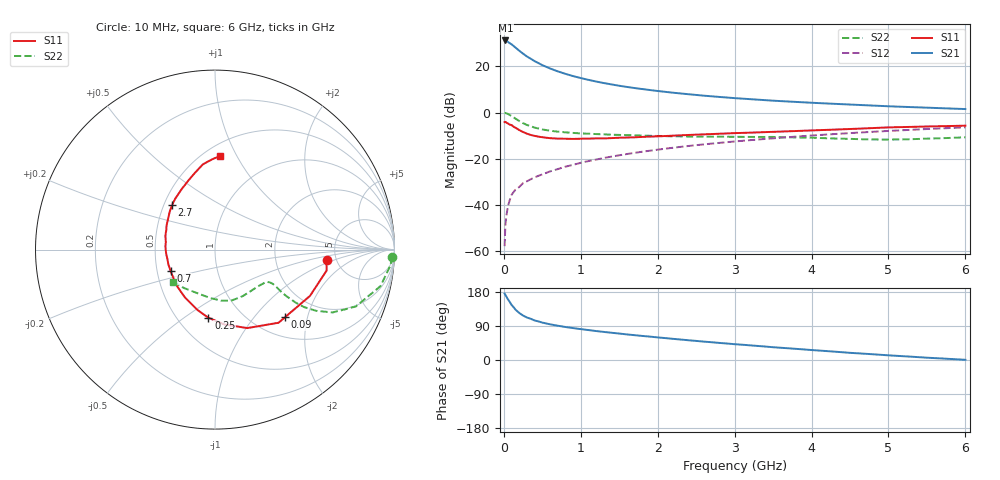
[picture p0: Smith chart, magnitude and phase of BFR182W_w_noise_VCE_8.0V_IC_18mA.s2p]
! Infineon Technologies  Discrete & RF Semiconductors
! BFR182W
! VCE =  8.0 V,  IC =  18 mA
! Common Emitter S-Parameters:  Jan 2017
# GHz  S  MA  R  50
!  f  S11  S21  S12  S22
! GHz  MAG  ANG  MAG  ANG  MAG  ANG  MAG  ANG
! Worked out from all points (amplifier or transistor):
!   77 points, 10 MHz to 6 GHz, reference 50 ohm
!   highest |S21| = 31.2 dB at 20 MHz (marker M1)
!   |S21| within 3 dB of that: start of sweep to 149.1 MHz
!   unconditionally stable (mu >= 1): 863.2 MHz to 2.395 GHz
!   at 130 MHz: K = 0.40, MSG = 31.5 dB, |S12| = -34.2 dB
!   at 2.2 GHz: K = 1.01, MAG = 11.2 dB, |S12| = -15.2 dB
!   at 6 GHz: K = 0.86, MSG = 4.0 dB, |S12| = -6.4 dB
!   lowest NFmin = 1.34 dB at 450 MHz
!   S11 on the Smith chart (normalised r, x): 10 MHz: 4.17, -0.77; 90 MHz: 1.37, -1.47; 250 MHz: 0.70, -0.62; 700 MHz: 0.59, -0.15; 2.7 GHz: 0.55, +0.31; 6 GHz: 0.60, +0.86
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0.01  0.6238 -5.2  36.13 175.2  0.0013 91.0  0.9879 -2.3
0.02  0.6328 -10.6  36.26 171.8  0.0037 100.3  0.9813 -5.2
0.05  0.5887 -26.0  34.18 161.0  0.0087 78.9  0.9446 -12.4
0.09  0.5423 -44.1  30.69 148.8  0.015 71.6  0.8637 -19.9
0.1  0.54 -49.0  30.06 145.3  0.0166 70.6  0.8461 -22.0
0.15  0.4729 -67.6  25.61 133.2  0.0215 66.6  0.7434 -28.1
0.2  0.4205 -82.8  21.8 124.2  0.0247 66.0  0.6586 -31.2
0.25  0.3812 -95.6  18.79 117.2  0.0299 64.1  0.592 -32.8
0.3  0.3506 -106.1  16.34 112.1  0.0328 64.6  0.541 -33.3
0.4  0.3144 -122.4  12.93 104.3  0.0399 65.2  0.4744 -33.1
0.5  0.2941 -135.5  10.62 98.7  0.0463 66.4  0.4331 -32.4
0.6  0.2804 -146.0  9.012 94.2  0.0536 67.8  0.4064 -31.5
0.7  0.2744 -154.3  7.802 90.5  0.0601 69.1  0.3878 -30.9
0.9  0.2702 -168.4  6.153 84.2  0.0744 69.6  0.3641 -30.7
1.1  0.2744 -179.4  5.103 79.0  0.0897 70.0  0.3501 -31.2
1.5  0.2866 164.6  3.81 69.8  0.1197 69.4  0.3297 -34.6
2.1  0.3121 147.0  2.811 57.8  0.1663 66.7  0.3102 -44.1
2.7  0.3441 133.9  2.253 46.9  0.2138 62.8  0.3018 -56.5
3.1  0.3645 125.9  2.006 40.3  0.2458 59.8  0.2992 -64.6
4.1  0.418 109.7  1.605 24.9  0.3281 51.6  0.283 -85.2
5.1  0.4835 96.9  1.352 11.1  0.4097 42.2  0.2627 -115.3
6  0.5226 86.9  1.194 0.5  0.4802 33.3  0.2936 -142.5
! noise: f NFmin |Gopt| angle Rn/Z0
0.45  1.34  0.07  174  0.15
0.9  1.41  0.08  179  0.15
1.9  1.93  0.27  -144  0.15
2.4  2.18  0.27  -129  0.24
